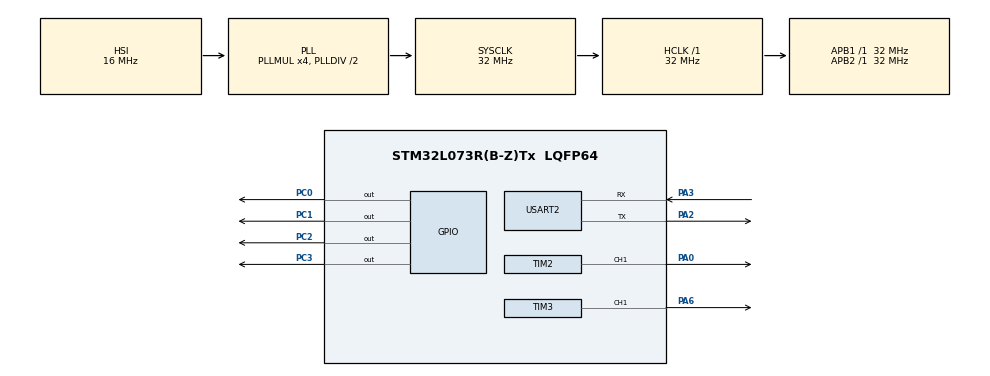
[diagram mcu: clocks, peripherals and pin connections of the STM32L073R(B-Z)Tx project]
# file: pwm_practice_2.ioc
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Dma.Request0=USART2_RX
Dma.Request1=USART2_TX
Dma.USART2_RX.0.Direction=DMA_PERIPH_TO_MEMORY
Dma.USART2_RX.0.Instance=DMA1_Channel6
Dma.USART2_RX.0.MemDataAlignment=DMA_MDATAALIGN_BYTE
Dma.USART2_RX.0.MemInc=DMA_MINC_ENABLE
Dma.USART2_RX.0.Mode=DMA_NORMAL
Dma.USART2_RX.0.PeriphDataAlignment=DMA_PDATAALIGN_BYTE
Dma.USART2_RX.0.PeriphInc=DMA_PINC_DISABLE
Dma.USART2_RX.0.Priority=DMA_PRIORITY_LOW
Dma.USART2_TX.1.Direction=DMA_MEMORY_TO_PERIPH
Dma.USART2_TX.1.Instance=DMA1_Channel7
Dma.USART2_TX.1.MemDataAlignment=DMA_MDATAALIGN_BYTE
Dma.USART2_TX.1.MemInc=DMA_MINC_ENABLE
Dma.USART2_TX.1.Mode=DMA_NORMAL
Dma.USART2_TX.1.PeriphDataAlignment=DMA_PDATAALIGN_BYTE
Dma.USART2_TX.1.PeriphInc=DMA_PINC_DISABLE
Dma.USART2_TX.1.Priority=DMA_PRIORITY_LOW
Mcu.Family=STM32L0
Mcu.Name=STM32L073R(B-Z)Tx
Mcu.Package=LQFP64
NVIC.DMA1_Channel4_5_6_7_IRQn=true\:0\:0\:false\:false\:true\:false
PA0.Signal=S_TIM2_CH1
PA13.Mode=Serial_Wire
PA13.Signal=SYS_SWDIO
PA14.Mode=Serial_Wire
PA14.Signal=SYS_SWCLK
PA2.Mode=Asynchronous
PA2.Signal=USART2_TX
PA3.Mode=Asynchronous
PA3.Signal=USART2_RX
PA6.Signal=S_TIM3_CH1
PC0.GPIO_PuPd=GPIO_PULLDOWN
PC0.Signal=GPIO_Output
PC1.GPIO_PuPd=GPIO_PULLDOWN
PC1.Signal=GPIO_Output
PC2.Signal=GPIO_Output
PC3.Signal=GPIO_Output
PH0-OSC_IN.Mode=HSE-External-Clock-Source
PH0-OSC_IN.Signal=RCC_OSC_IN
ProjectManager.HeapSize=0x200
ProjectManager.StackSize=0x400
ProjectManager.TargetToolchain=MDK-ARM V5
RCC.AHBFreq_Value=32000000
RCC.APB1Freq_Value=32000000
RCC.APB1TimFreq_Value=32000000
RCC.APB2Freq_Value=32000000
RCC.APB2TimFreq_Value=32000000
RCC.HCLKFreq_Value=32000000
RCC.HSE_VALUE=8000000
RCC.HSI16_VALUE=16000000
RCC.HSI48_VALUE=48000000
RCC.HSI_VALUE=16000000
RCC.LSE_VALUE=32768
RCC.MSI_VALUE=2097000
RCC.PLLMUL=RCC_PLLMUL_4
RCC.SYSCLKFreq_VALUE=32000000
RCC.SYSCLKSource=RCC_SYSCLKSOURCE_PLLCLK
RCC.VCOOutputFreq_Value=64000000
SH.S_TIM2_CH1.0=TIM2_CH1,PWM Generation1 CH1
SH.S_TIM3_CH1.0=TIM3_CH1,PWM Generation1 CH1
TIM2.Channel-PWM\ Generation1\ CH1=TIM_CHANNEL_1
TIM2.Period=999
TIM2.Prescaler=32
TIM2.Pulse-PWM\ Generation1\ CH1=499
TIM3.Channel-PWM\ Generation1\ CH1=TIM_CHANNEL_1
TIM3.Period=999
TIM3.Prescaler=32
TIM3.Pulse-PWM\ Generation1\ CH1=499
USART2.VirtualMode-Asynchronous=VM_ASYNC
board=custom

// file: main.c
/**
  ******************************************************************************
  * @file           : main.c
  * @brief          : Main program body
  ******************************************************************************
  ** This notice applies to any and all portions of this file
  * that are not between comment pairs USER CODE BEGIN and
  * USER CODE END. Other portions of this file, whether
  * inserted by the user or by software development tools
  * are owned by their respective copyright owners.
  *
  * COPYRIGHT(c) 2018 STMicroelectronics
  *
  * Redistribution and use in source and binary forms, with or without modification,
  * are permitted provided that the following conditions are met:
  *   1. Redistributions of source code must retain the above copyright notice,
  *      this list of conditions and the following disclaimer.
  *   2. Redistributions in binary form must reproduce the above copyright notice,
  *      this list of conditions and the following disclaimer in the documentation
  *      and/or other materials provided with the distribution.
  *   3. Neither the name of STMicroelectronics nor the names of its contributors
  *      may be used to endorse or promote products derived from this software
  *      without specific prior written permission.
  *
  * THIS SOFTWARE IS PROVIDED BY THE COPYRIGHT HOLDERS AND CONTRIBUTORS "AS IS"
  * AND ANY EXPRESS OR IMPLIED WARRANTIES, INCLUDING, BUT NOT LIMITED TO, THE
  * IMPLIED WARRANTIES OF MERCHANTABILITY AND FITNESS FOR A PARTICULAR PURPOSE ARE
  * DISCLAIMED. IN NO EVENT SHALL THE COPYRIGHT HOLDER OR CONTRIBUTORS BE LIABLE
  * FOR ANY DIRECT, INDIRECT, INCIDENTAL, SPECIAL, EXEMPLARY, OR CONSEQUENTIAL
  * DAMAGES (INCLUDING, BUT NOT LIMITED TO, PROCUREMENT OF SUBSTITUTE GOODS OR
  * SERVICES; LOSS OF USE, DATA, OR PROFITS; OR BUSINESS INTERRUPTION) HOWEVER
  * CAUSED AND ON ANY THEORY OF LIABILITY, WHETHER IN CONTRACT, STRICT LIABILITY,
  * OR TORT (INCLUDING NEGLIGENCE OR OTHERWISE) ARISING IN ANY WAY OUT OF THE USE
  * OF THIS SOFTWARE, EVEN IF ADVISED OF THE POSSIBILITY OF SUCH DAMAGE.
  *
  ******************************************************************************
  */
#include "main.h"
#include "stm32l0xx_hal.h"
#include "dma.h"
#include "tim.h"
#include "usart.h"
#include "gpio.h"

/* USER CODE BEGIN PV */

int i=0;
int g=1;
int temp;
uint16_t val = 0;

uint8_t str[6] = {0};

/* Private variables ---------------------------------------------------------*/

/* USER CODE END PV */

void SystemClock_Config(void);

/* USER CODE BEGIN PFP */
/* Private function prototypes -----------------------------------------------*/
void HAL_TIM_PeriodElapsedCallback(TIM_HandleTypeDef *htim){
}
void HAL_UART_RxCpltCallback(UART_HandleTypeDef *huart)
{
	HAL_UART_Transmit(&huart2,str,4,1000);

	g=1;
	val=0;

	for(i=3;i>0;i--){
		temp = str[i] - 0x30;
		val+=temp*g;
		g*=10;
	}
	if(val >= 1000)
	{
		HAL_UART_Transmit_DMA(&huart2,"input error\r\n",13);
	}else{

		printf("%c",str[0]);
		printf("%d\r\n",val);

		TIM2->CCR1 = val;
		TIM3->CCR1 = val;

		switch(str[0])
		{
			case 'w':
				HAL_GPIO_WritePin(GPIOC, GPIO_PIN_0 | GPIO_PIN_2, GPIO_PIN_SET);
				HAL_GPIO_WritePin(GPIOC, GPIO_PIN_1 | GPIO_PIN_3, GPIO_PIN_RESET);
				break;
			case 's':
				HAL_GPIO_WritePin(GPIOC, GPIO_PIN_0 | GPIO_PIN_2, GPIO_PIN_RESET);
				HAL_GPIO_WritePin(GPIOC, GPIO_PIN_1 | GPIO_PIN_3, GPIO_PIN_SET);
				break;
			case 'd':
				HAL_GPIO_WritePin(GPIOC, GPIO_PIN_0 | GPIO_PIN_3, GPIO_PIN_SET);
				HAL_GPIO_WritePin(GPIOC, GPIO_PIN_1 | GPIO_PIN_2, GPIO_PIN_RESET);
				break;
			case 'a':
				HAL_GPIO_WritePin(GPIOC, GPIO_PIN_0 | GPIO_PIN_3, GPIO_PIN_RESET);
				HAL_GPIO_WritePin(GPIOC, GPIO_PIN_1 | GPIO_PIN_2, GPIO_PIN_SET);
				break;
			default:
				HAL_GPIO_WritePin(GPIOC, GPIO_PIN_0 | GPIO_PIN_2 | GPIO_PIN_3 | GPIO_PIN_4, GPIO_PIN_RESET);
				break;
	    }
		}
}
/* USER CODE END PFP */

/* USER CODE BEGIN 0 */
int fputc(int c,FILE *F){
	uint8_t temp = c;
	HAL_UART_Transmit(&huart2,&temp,1,2);
}
/* USER CODE END 0 */

int main(void)
{

  /* MCU Configuration----------------------------------------------------------*/

  /* Reset of all peripherals, Initializes the Flash interface and the Systick. */
  HAL_Init();

  /* Configure the system clock */
  SystemClock_Config();

  /* Initialize all configured peripherals */
  MX_GPIO_Init();
  MX_DMA_Init();
  MX_TIM2_Init();
  MX_TIM3_Init();
  MX_USART2_UART_Init();
  /* USER CODE BEGIN 2 */
  HAL_TIM_PWM_Start(&htim2,TIM_CHANNEL_1);
  HAL_TIM_PWM_Start(&htim3,TIM_CHANNEL_1);
  /* USER CODE END 2 */

  /* Infinite loop */
  /* USER CODE BEGIN WHILE */
	while(1)
	{
	HAL_UART_Receive_DMA(&huart2,str,4);
  /* USER CODE END WHILE */

  }

}

void SystemClock_Config(void)
{

  RCC_OscInitTypeDef RCC_OscInitStruct;
  RCC_ClkInitTypeDef RCC_ClkInitStruct;
  RCC_PeriphCLKInitTypeDef PeriphClkInit;

    /**Configure the main internal regulator output voltage
    */
  __HAL_PWR_VOLTAGESCALING_CONFIG(PWR_REGULATOR_VOLTAGE_SCALE1);

    /**Initializes the CPU, AHB and APB busses clocks
    */
  RCC_OscInitStruct.OscillatorType = RCC_OSCILLATORTYPE_HSI;
  RCC_OscInitStruct.HSIState = RCC_HSI_ON;
  RCC_OscInitStruct.HSICalibrationValue = 16;
  RCC_OscInitStruct.PLL.PLLState = RCC_PLL_ON;
  RCC_OscInitStruct.PLL.PLLSource = RCC_PLLSOURCE_HSI;
  RCC_OscInitStruct.PLL.PLLMUL = RCC_PLLMUL_4;
  RCC_OscInitStruct.PLL.PLLDIV = RCC_PLLDIV_2;
  if (HAL_RCC_OscConfig(&RCC_OscInitStruct) != HAL_OK)
  {
    _Error_Handler(__FILE__, __LINE__);
  }

    /**Initializes the CPU, AHB and APB busses clocks
    */
  RCC_ClkInitStruct.ClockType = RCC_CLOCKTYPE_HCLK|RCC_CLOCKTYPE_SYSCLK
                              |RCC_CLOCKTYPE_PCLK1|RCC_CLOCKTYPE_PCLK2;
  RCC_ClkInitStruct.SYSCLKSource = RCC_SYSCLKSOURCE_PLLCLK;
  RCC_ClkInitStruct.AHBCLKDivider = RCC_SYSCLK_DIV1;
  RCC_ClkInitStruct.APB1CLKDivider = RCC_HCLK_DIV1;
  RCC_ClkInitStruct.APB2CLKDivider = RCC_HCLK_DIV1;

  if (HAL_RCC_ClockConfig(&RCC_ClkInitStruct, FLASH_LATENCY_1) != HAL_OK)
  {
    _Error_Handler(__FILE__, __LINE__);
  }

  PeriphClkInit.PeriphClockSelection = RCC_PERIPHCLK_USART2;
  PeriphClkInit.Usart2ClockSelection = RCC_USART2CLKSOURCE_PCLK1;
  if (HAL_RCCEx_PeriphCLKConfig(&PeriphClkInit) != HAL_OK)
  {
    _Error_Handler(__FILE__, __LINE__);
  }

    /**Configure the Systick interrupt time
    */
  HAL_SYSTICK_Config(HAL_RCC_GetHCLKFreq()/1000);

    /**Configure the Systick
    */
  HAL_SYSTICK_CLKSourceConfig(SYSTICK_CLKSOURCE_HCLK);

  /* SysTick_IRQn interrupt configuration */
  HAL_NVIC_SetPriority(SysTick_IRQn, 0, 0);
}

void _Error_Handler(char *file, int line)
{
  while(1)
  {
  }
}

/************************ (C) COPYRIGHT STMicroelectronics *****END OF FILE****/
